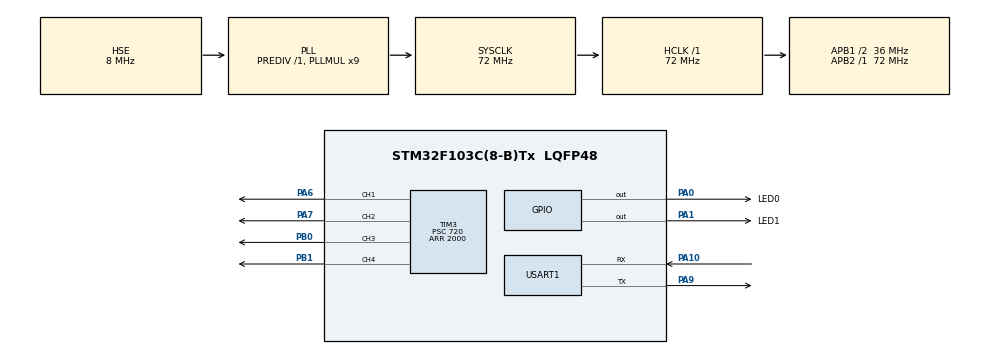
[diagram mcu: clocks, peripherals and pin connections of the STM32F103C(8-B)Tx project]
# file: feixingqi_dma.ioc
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Dma.Request0=USART1_RX
Dma.USART1_RX.0.Direction=DMA_PERIPH_TO_MEMORY
Dma.USART1_RX.0.Instance=DMA1_Channel5
Dma.USART1_RX.0.MemDataAlignment=DMA_MDATAALIGN_BYTE
Dma.USART1_RX.0.MemInc=DMA_MINC_ENABLE
Dma.USART1_RX.0.Mode=DMA_NORMAL
Dma.USART1_RX.0.PeriphDataAlignment=DMA_PDATAALIGN_BYTE
Dma.USART1_RX.0.PeriphInc=DMA_PINC_DISABLE
Dma.USART1_RX.0.Priority=DMA_PRIORITY_VERY_HIGH
Mcu.Family=STM32F1
Mcu.Name=STM32F103C(8-B)Tx
Mcu.Package=LQFP48
NVIC.DMA1_Channel5_IRQn=true\:0\:0\:false\:false\:true\:false\:true
NVIC.PriorityGroup=NVIC_PRIORITYGROUP_4
NVIC.USART1_IRQn=true\:0\:0\:false\:false\:true\:true\:true
PA0-WKUP.GPIO_Label=LED0
PA0-WKUP.GPIO_PuPd=GPIO_PULLUP
PA0-WKUP.PinState=GPIO_PIN_SET
PA0-WKUP.Signal=GPIO_Output
PA1.GPIO_Label=LED1
PA1.GPIO_PuPd=GPIO_PULLUP
PA1.PinState=GPIO_PIN_SET
PA1.Signal=GPIO_Output
PA10.Mode=Asynchronous
PA10.Signal=USART1_RX
PA13.Mode=Serial_Wire
PA13.Signal=SYS_JTMS-SWDIO
PA14.Mode=Serial_Wire
PA14.Signal=SYS_JTCK-SWCLK
PA6.Signal=S_TIM3_CH1
PA7.Signal=S_TIM3_CH2
PA9.Mode=Asynchronous
PA9.Signal=USART1_TX
PB0.Signal=S_TIM3_CH3
PB1.Signal=S_TIM3_CH4
PC14-OSC32_IN.Mode=LSE-External-Oscillator
PC14-OSC32_IN.Signal=RCC_OSC32_IN
PC15-OSC32_OUT.Mode=LSE-External-Oscillator
PC15-OSC32_OUT.Signal=RCC_OSC32_OUT
PD0-OSC_IN.Mode=HSE-External-Oscillator
PD0-OSC_IN.Signal=RCC_OSC_IN
PD1-OSC_OUT.Mode=HSE-External-Oscillator
PD1-OSC_OUT.Signal=RCC_OSC_OUT
ProjectManager.HeapSize=0x200
ProjectManager.StackSize=0x400
ProjectManager.TargetToolchain=STM32CubeIDE
RCC.AHBFreq_Value=72000000
RCC.APB1CLKDivider=RCC_HCLK_DIV2
RCC.APB1Freq_Value=36000000
RCC.APB1TimFreq_Value=72000000
RCC.APB2Freq_Value=72000000
RCC.APB2TimFreq_Value=72000000
RCC.HCLKFreq_Value=72000000
RCC.PLLMUL=RCC_PLL_MUL9
RCC.PLLSourceVirtual=RCC_PLLSOURCE_HSE
RCC.SYSCLKFreq_VALUE=72000000
RCC.SYSCLKSource=RCC_SYSCLKSOURCE_PLLCLK
RCC.USBFreq_Value=72000000
SH.S_TIM3_CH1.0=TIM3_CH1,PWM Generation1 CH1
SH.S_TIM3_CH2.0=TIM3_CH2,PWM Generation2 CH2
SH.S_TIM3_CH3.0=TIM3_CH3,PWM Generation3 CH3
SH.S_TIM3_CH4.0=TIM3_CH4,PWM Generation4 CH4
TIM3.AutoReloadPreload=TIM_AUTORELOAD_PRELOAD_DISABLE
TIM3.Channel-PWM\ Generation1\ CH1=TIM_CHANNEL_1
TIM3.Channel-PWM\ Generation2\ CH2=TIM_CHANNEL_2
TIM3.Channel-PWM\ Generation3\ CH3=TIM_CHANNEL_3
TIM3.Channel-PWM\ Generation4\ CH4=TIM_CHANNEL_4
TIM3.Period=2000
TIM3.Prescaler=720
USART1.VirtualMode=VM_ASYNC
VP_TIM3_VS_ClockSourceINT.Mode=Internal
board=custom

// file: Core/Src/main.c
/* USER CODE BEGIN Header */
/**
  ******************************************************************************
  * @file           : main.c
  * @brief          : Main program body
  ******************************************************************************
  * @attention
  *
  * <h2><center>&copy; Copyright (c) 2021 STMicroelectronics.
  * All rights reserved.</center></h2>
  *
  * This software component is licensed by ST under BSD 3-Clause license,
  * the "License"; You may not use this file except in compliance with the
  * License. You may obtain a copy of the License at:
  *                        opensource.org/licenses/BSD-3-Clause
  *
  ******************************************************************************
  */
/* USER CODE END Header */
#include "main.h"

TIM_HandleTypeDef htim3;

UART_HandleTypeDef huart1;
DMA_HandleTypeDef hdma_usart1_rx;

/* USER CODE BEGIN PV */
uint8_t buffer[400];
uint8_t last_command=0;
/* USER CODE END PV */

void SystemClock_Config(void);
static void MX_GPIO_Init(void);
static void MX_TIM3_Init(void);
static void MX_DMA_Init(void);
static void MX_USART1_UART_Init(void);
/* USER CODE BEGIN PFP */
void motor_control(uint8_t motor_idx, uint8_t pwm);
void waiting_rasp();
void motor_stop();
void motor_init();
/* USER CODE END PFP */

int main(void)
{

  /* MCU Configuration--------------------------------------------------------*/

  /* Reset of all peripherals, Initializes the Flash interface and the Systick. */
  HAL_Init();

  /* Configure the system clock */
  SystemClock_Config();

  /* Initialize all configured peripherals */
  MX_GPIO_Init();
  MX_TIM3_Init();
  MX_DMA_Init();
  MX_USART1_UART_Init();
  /* USER CODE BEGIN 2 */
  HAL_TIM_PWM_Start(&htim3, TIM_CHANNEL_1);
  HAL_TIM_PWM_Start(&htim3, TIM_CHANNEL_2);
  HAL_TIM_PWM_Start(&htim3, TIM_CHANNEL_3);
  HAL_TIM_PWM_Start(&htim3, TIM_CHANNEL_4);
  //motor_init();
  motor_stop();
  waiting_rasp();
  //HAL_UART_Receive_IT(&huart1,&buffer, 1);
  __HAL_UART_ENABLE_IT(&huart1, UART_IT_IDLE);
  HAL_UART_Receive_DMA(&huart1,buffer,400);

  /* USER CODE END 2 */

  /* Infinite loop */
  /* USER CODE BEGIN WHILE */
  uint8_t motor_throttles[4]={0, 0, 0, 0};
  uint8_t pwm=0;
  uint8_t motor_selected[4]={0, 0, 0, 0};
  uint8_t mode=0xfe;
  uint8_t temp=last_command;
  while (1)
  {
	  //
	  if(buffer!=last_command)
	  {

		  //which means we get a new command
		  last_command=buffer;
		  switch(last_command)
		  {
		  case 0xff:
			  mode=last_command;
			  break;
		  case 0xfe:
			  mode=last_command;
			  break;
		  default:
			  switch(mode)
			  {
			  case 0xff:
				  pwm=last_command;
				  for(uint8_t i=0; i<4; i++)
				  {
					  if(motor_selected[i]!=0)
					  {
						  motor_control(i, pwm);
					  }
				  }
				  break;
			  case 0xfe:
				  temp=last_command;
				  for(uint8_t i=0; i<4;i++)
				  {

					  motor_selected[i]=temp%2;
					  temp-=motor_selected[i];
					  temp/=2;
				  }
				  HAL_UART_Transmit(&huart1, &motor_selected, 4, 100);
				  break;
			  }

		  }
	  }
    /* USER CODE END WHILE */

  }
}

void SystemClock_Config(void)
{
  RCC_OscInitTypeDef RCC_OscInitStruct = {0};
  RCC_ClkInitTypeDef RCC_ClkInitStruct = {0};

  /** Initializes the RCC Oscillators according to the specified parameters
  * in the RCC_OscInitTypeDef structure.
  */
  RCC_OscInitStruct.OscillatorType = RCC_OSCILLATORTYPE_HSE;
  RCC_OscInitStruct.HSEState = RCC_HSE_ON;
  RCC_OscInitStruct.HSEPredivValue = RCC_HSE_PREDIV_DIV1;
  RCC_OscInitStruct.HSIState = RCC_HSI_ON;
  RCC_OscInitStruct.PLL.PLLState = RCC_PLL_ON;
  RCC_OscInitStruct.PLL.PLLSource = RCC_PLLSOURCE_HSE;
  RCC_OscInitStruct.PLL.PLLMUL = RCC_PLL_MUL9;
  if (HAL_RCC_OscConfig(&RCC_OscInitStruct) != HAL_OK)
  {
    Error_Handler();
  }
  /** Initializes the CPU, AHB and APB buses clocks
  */
  RCC_ClkInitStruct.ClockType = RCC_CLOCKTYPE_HCLK|RCC_CLOCKTYPE_SYSCLK
                              |RCC_CLOCKTYPE_PCLK1|RCC_CLOCKTYPE_PCLK2;
  RCC_ClkInitStruct.SYSCLKSource = RCC_SYSCLKSOURCE_PLLCLK;
  RCC_ClkInitStruct.AHBCLKDivider = RCC_SYSCLK_DIV1;
  RCC_ClkInitStruct.APB1CLKDivider = RCC_HCLK_DIV2;
  RCC_ClkInitStruct.APB2CLKDivider = RCC_HCLK_DIV1;

  if (HAL_RCC_ClockConfig(&RCC_ClkInitStruct, FLASH_LATENCY_2) != HAL_OK)
  {
    Error_Handler();
  }
}

static void MX_TIM3_Init(void)
{

  TIM_ClockConfigTypeDef sClockSourceConfig = {0};
  TIM_MasterConfigTypeDef sMasterConfig = {0};
  TIM_OC_InitTypeDef sConfigOC = {0};

  htim3.Instance = TIM3;
  htim3.Init.Prescaler = 720;
  htim3.Init.CounterMode = TIM_COUNTERMODE_UP;
  htim3.Init.Period = 2000;
  htim3.Init.ClockDivision = TIM_CLOCKDIVISION_DIV1;
  htim3.Init.AutoReloadPreload = TIM_AUTORELOAD_PRELOAD_DISABLE;
  if (HAL_TIM_Base_Init(&htim3) != HAL_OK)
  {
    Error_Handler();
  }
  sClockSourceConfig.ClockSource = TIM_CLOCKSOURCE_INTERNAL;
  if (HAL_TIM_ConfigClockSource(&htim3, &sClockSourceConfig) != HAL_OK)
  {
    Error_Handler();
  }
  if (HAL_TIM_PWM_Init(&htim3) != HAL_OK)
  {
    Error_Handler();
  }
  sMasterConfig.MasterOutputTrigger = TIM_TRGO_RESET;
  sMasterConfig.MasterSlaveMode = TIM_MASTERSLAVEMODE_DISABLE;
  if (HAL_TIMEx_MasterConfigSynchronization(&htim3, &sMasterConfig) != HAL_OK)
  {
    Error_Handler();
  }
  sConfigOC.OCMode = TIM_OCMODE_PWM1;
  sConfigOC.Pulse = 0;
  sConfigOC.OCPolarity = TIM_OCPOLARITY_HIGH;
  sConfigOC.OCFastMode = TIM_OCFAST_DISABLE;
  if (HAL_TIM_PWM_ConfigChannel(&htim3, &sConfigOC, TIM_CHANNEL_1) != HAL_OK)
  {
    Error_Handler();
  }
  if (HAL_TIM_PWM_ConfigChannel(&htim3, &sConfigOC, TIM_CHANNEL_2) != HAL_OK)
  {
    Error_Handler();
  }
  if (HAL_TIM_PWM_ConfigChannel(&htim3, &sConfigOC, TIM_CHANNEL_3) != HAL_OK)
  {
    Error_Handler();
  }
  if (HAL_TIM_PWM_ConfigChannel(&htim3, &sConfigOC, TIM_CHANNEL_4) != HAL_OK)
  {
    Error_Handler();
  }
  HAL_TIM_MspPostInit(&htim3);

}

static void MX_USART1_UART_Init(void)
{

  huart1.Instance = USART1;
  huart1.Init.BaudRate = 115200;
  huart1.Init.WordLength = UART_WORDLENGTH_8B;
  huart1.Init.StopBits = UART_STOPBITS_1;
  huart1.Init.Parity = UART_PARITY_NONE;
  huart1.Init.Mode = UART_MODE_TX_RX;
  huart1.Init.HwFlowCtl = UART_HWCONTROL_NONE;
  huart1.Init.OverSampling = UART_OVERSAMPLING_16;
  if (HAL_UART_Init(&huart1) != HAL_OK)
  {
    Error_Handler();
  }

}

static void MX_DMA_Init(void)
{

  /* DMA controller clock enable */
  __HAL_RCC_DMA1_CLK_ENABLE();

  /* DMA interrupt init */
  /* DMA1_Channel5_IRQn interrupt configuration */
  HAL_NVIC_SetPriority(DMA1_Channel5_IRQn, 0, 0);
  HAL_NVIC_EnableIRQ(DMA1_Channel5_IRQn);

}

static void MX_GPIO_Init(void)
{
  GPIO_InitTypeDef GPIO_InitStruct = {0};

  /* GPIO Ports Clock Enable */
  __HAL_RCC_GPIOC_CLK_ENABLE();
  __HAL_RCC_GPIOD_CLK_ENABLE();
  __HAL_RCC_GPIOA_CLK_ENABLE();
  __HAL_RCC_GPIOB_CLK_ENABLE();

  /*Configure GPIO pin Output Level */
  HAL_GPIO_WritePin(GPIOA, LED0_Pin|LED1_Pin, GPIO_PIN_SET);

  /*Configure GPIO pins : LED0_Pin LED1_Pin */
  GPIO_InitStruct.Pin = LED0_Pin|LED1_Pin;
  GPIO_InitStruct.Mode = GPIO_MODE_OUTPUT_PP;
  GPIO_InitStruct.Pull = GPIO_PULLUP;
  GPIO_InitStruct.Speed = GPIO_SPEED_FREQ_LOW;
  HAL_GPIO_Init(GPIOA, &GPIO_InitStruct);

}

/* USER CODE BEGIN 4 */
void HAL_UART_RxCpltCallback(UART_HandleTypeDef *huart)
{
	if (huart->Instance==USART1)
	{
		HAL_UART_Receive_IT(&huart1,&buffer, 1);
	}
}
void USAR_UART_IDLECallback(UART_HandleTypeDef *huart)
{
	HAL_UART_DMAStop(&huart1);

	// 计算接收到的数据长度
	uint8_t data_length  = 400 - __HAL_DMA_GET_COUNTER(&hdma_usart1_rx);
	HAL_UART_Transmit(&huart1,&data_length,1,0x200);
	memset(buffer,0,data_length);
	data_length = 0;

	// 重启开始DMA传输 每次255字节数据
	HAL_UART_Receive_DMA(&huart1, buffer, 400);
}
void USER_UART_IRQHandler(UART_HandleTypeDef *huart)
{
	if(USART1 == huart1.Instance)
	    {
	        if(RESET != __HAL_UART_GET_FLAG(&huart1, UART_FLAG_IDLE))
	        {
	            __HAL_UART_CLEAR_IDLEFLAG(&huart1);

	            USAR_UART_IDLECallback(&huart1);
	        }
	    }

}
void motor_control(uint8_t motor_idx, uint8_t pwm)
{
	pwm=pwm+100;
	switch(motor_idx)
	{
	case 0:
		__HAL_TIM_SET_COMPARE(&htim3, TIM_CHANNEL_1, pwm);
		break;
	case 1:
		__HAL_TIM_SET_COMPARE(&htim3, TIM_CHANNEL_2, pwm);
		break;
	case 2:
		__HAL_TIM_SET_COMPARE(&htim3, TIM_CHANNEL_3, pwm);
		break;
	case 3:
		__HAL_TIM_SET_COMPARE(&htim3, TIM_CHANNEL_4, pwm);
		break;
	}
}

void motor_stop()
{
	 for(uint8_t i=0; i<4; i++)
	  {
		  motor_control(i, 0);
	  }
}

void waiting_rasp()
{
	uint8_t text[]="arduino";
	uint8_t rec=0;
	while (1)
	{
		HAL_UART_Transmit(&huart1, text, 7, 100);
		HAL_UART_Receive(&huart1, &rec, 1, 100);
		if(rec==0xfe)
		{
			break;
		}
	}
}

void motor_init()
{
	for(uint8_t i=0; i<4; i++)
		  {
			  motor_control(i, 100);
		  }
	HAL_Delay(3000);
	motor_stop();
	HAL_Delay(2000);

}

/* USER CODE END 4 */

void Error_Handler(void)
{
  __disable_irq();
  while (1)
  {
  }
}
